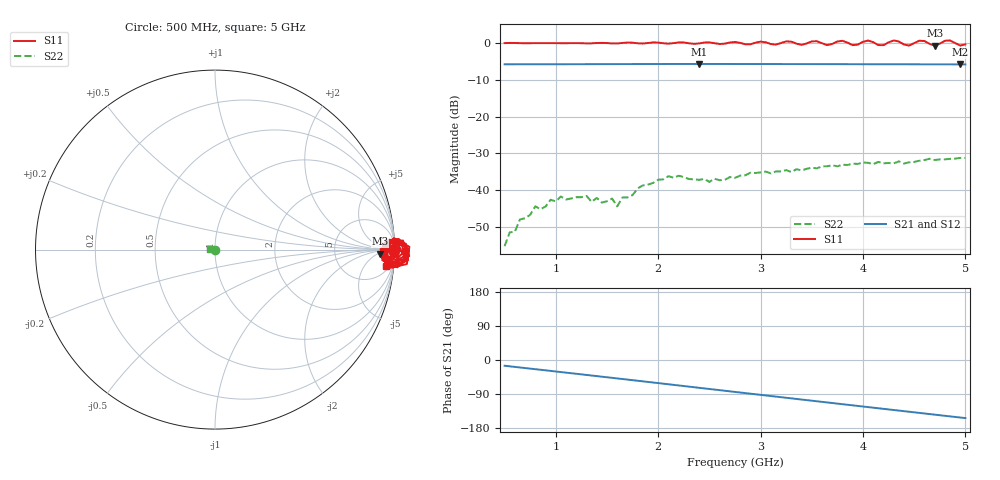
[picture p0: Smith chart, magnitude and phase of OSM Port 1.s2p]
! RsaToolbox (C) 2015 Rohde & Schwarz America
! Number of points: 91
! Number of ports: 2
! Balanced ports?: No
# Hz S RI R 50
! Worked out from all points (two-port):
!   91 points, 500 MHz to 5 GHz, reference 50 ohm
!   highest |S21| = -5.70 dB at 2.4 GHz (marker M1); lowest = -5.8 dB at 4.95 GHz (marker M2)
!   |S21| within 3 dB of the highest: start of sweep to end of sweep
!   lowest |S11| = -0.7 dB at 4.7 GHz (marker M3), VSWR 23.72, Z = 1.1e+03 - j313 ohm
!   |S11| at or under -10 dB: nowhere
!   |S22| runs from -55.2 to -31.2 dB; largest |S21 - S12| = 0
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5e8  0.9968 -0.0162  0.4959 -0.1346  0.4959 -0.1346  0.00032 -0.00171
5.5e8  1.002 -0.0105  0.4922 -0.1476  0.4922 -0.1476  0.000258 -0.00267
8e8  0.9966 -0.00732  0.4689 -0.2111  0.4689 -0.2111  0.00318 -0.00515
1.25e9  0.9941 -0.00192  0.4068 -0.3167  0.4068 -0.3167  -0.00286 -0.00752
1.6e9  0.9865 -0.0166  0.3417 -0.3879  0.3417 -0.3879  -0.00152 -0.00584
2e9  1.014 0.00794  0.2516 -0.4532  0.2516 -0.4532  -0.00427 -0.0132
2.4e9  0.9872 -0.0268  0.1485 -0.4973  0.1485 -0.4973  -0.00757 -0.0116
2.75e9  1.031 -0.00311  0.052 -0.516  0.052 -0.516  -0.00732 -0.0128
3.4e9  0.9427 -0.0171  -0.1278 -0.5009  -0.1278 -0.5009  -0.0159 -0.00969
3.5e9  1.05 -0.0552  -0.1544 -0.493  -0.1544 -0.493  -0.0171 -0.0107
3.75e9  1.047 -0.0715  -0.2188 -0.4674  -0.2188 -0.4674  -0.019 -0.00919
3.85e9  1.007 0.058  -0.2434 -0.4547  -0.2434 -0.4547  -0.02 -0.00926
4e9  1.035 -0.0854  -0.2788 -0.4332  -0.2788 -0.4332  -0.0229 -0.00634
4.1e9  1.023 0.0595  -0.3014 -0.4176  -0.3014 -0.4176  -0.0219 -0.00596
4.25e9  1.016 -0.0986  -0.3335 -0.3916  -0.3335 -0.3916  -0.0231 -0.00404
4.35e9  1.047 0.0506  -0.3538 -0.373  -0.3538 -0.373  -0.0243 -0.00415
4.5e9  0.9917 -0.101  -0.3822 -0.3433  -0.3822 -0.3433  -0.0241 -0.00294
4.6e9  1.063 0.0327  -0.3998 -0.3221  -0.3998 -0.3221  -0.0256 -0.00246
4.7e9  0.9188 -0.0222  -0.4161 -0.3003  -0.4161 -0.3003  -0.0257 -0.00159
4.85e9  1.083 0.0159  -0.4384 -0.266  -0.4384 -0.266  -0.0266 0.00179
4.95e9  0.9225 0.0029  -0.4514 -0.2419  -0.4514 -0.2419  -0.0275 0.00138
5e9  0.9549 -0.0912  -0.4578 -0.2299  -0.4578 -0.2299  -0.0273 0.00272
